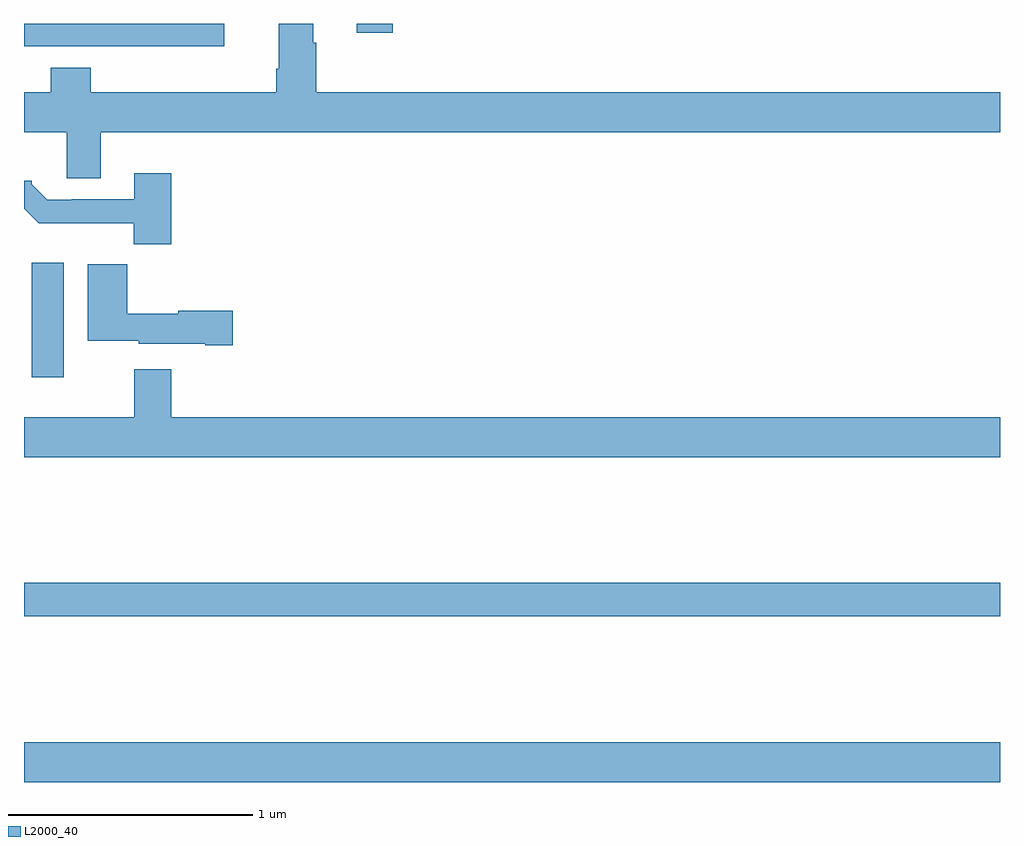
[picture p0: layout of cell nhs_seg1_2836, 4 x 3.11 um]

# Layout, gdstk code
import gdstk
lib = gdstk.Library(unit=1e-6, precision=1e-09)
def R(c, l, rs):  # rectangles x0, y0, x1, y1
    for r in rs: c.add(gdstk.rectangle(r[:2], r[2:], *l))
def P(c, l, *ps):  # polygons
    for p in ps: c.add(gdstk.Polygon(p, *l))
L2000_40 = (2000, 40)

nhs_seg1_2836 = lib.new_cell('nhs_seg1_2836')
R(nhs_seg1_2836, L2000_40, [(265,525.092,269,525.256), (265,525.772,269,525.908), (265.031,526.752,265.162,527.221), (266.363,528.162,266.512,528.199)])
P(nhs_seg1_2836, L2000_40, [(265.274,528.019),(265.109,528.019),(265.109,527.92),(265,527.92),(265,527.756),(265.175,527.756),(265.175,527.566),(265.315,527.566),(265.315,527.756),(269,527.756),(269,527.92),(266.198,527.92),(266.198,528.122),(266.185,528.122),(266.185,528.199),(266.045,528.199),(266.045,528.016),(266.033,528.016),(266.033,527.92),(265.274,527.92)],
  [(265.821,528.199),(265,528.199),(265,528.108),(265.357,528.108),(265.357,528.107),(265.821,528.107)],
  [(265.604,527.587),(265.451,527.587),(265.451,527.481),(265.195,527.481),(265.195,527.478),(265.096,527.478),(265.032,527.542),(265.032,527.557),(265,527.557),(265,527.441),(265.06,527.382),(265.449,527.382),(265.449,527.297),(265.604,527.297)],
  [(265.855,527.024),(265.632,527.024),(265.632,527.011),(265.424,527.011),(265.424,527.215),(265.262,527.215),(265.262,526.901),(265.47,526.901),(265.47,526.889),(265.742,526.889),(265.742,526.882),(265.855,526.882)],
  [(269,526.588),(265.604,526.588),(265.604,526.783),(265.451,526.783),(265.451,526.588),(265,526.588),(265,526.424),(269,526.424)])

lib.write_gds('nhs_seg1_2836.gds')
